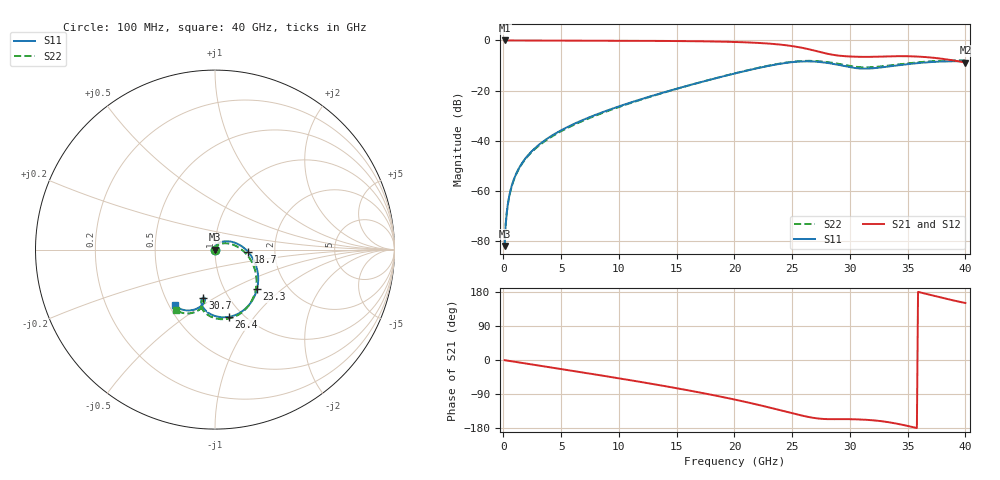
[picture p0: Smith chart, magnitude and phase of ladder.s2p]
# Hz S RI R 50
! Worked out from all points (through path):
!   400 points, 100 MHz to 40 GHz, reference 50 ohm
!   highest |S21| = 0.00 dB at 100 MHz (marker M1); lowest = -8.8 dB at 40 GHz (marker M2)
!   group delay of S21, straight-line fit = 14.5 ps
!   lowest |S11| = -82.0 dB at 100 MHz (marker M3), VSWR 1.00, Z = 50 + j0.00689 ohm
!   |S11| at or under -10 dB: start of sweep to 23.12 GHz; 29.28 GHz to 34.03 GHz (4.758 GHz wide, 15 % of centre)
!   |S22| runs from -82.1 to -7.9 dB; largest |S21 - S12| = 0
!   S11 on the Smith chart (normalised r, x): 100 MHz: 1.00, +0.00; 18.7 GHz: 1.45, -0.04; 23.3 GHz: 1.41, -0.70; 26.4 GHz: 0.86, -0.75; 30.7 GHz: 0.76, -0.44; 40 GHz: 0.53, -0.39
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1e8  -3.86e-05 6.9e-05  0.9998 -0.0086  0.9998 -0.0086  -3.76e-05 6.89e-05
2e8  -0.000111 0.000191  0.9996 -0.0171  0.9996 -0.0171  -0.000107 0.000191
3e8  -0.000188 0.000342  0.9993 -0.0255  0.9993 -0.0255  -0.000178 0.000342
6e8  -0.000417 0.0009  0.998 -0.0507  0.998 -0.0507  -0.000379 0.000897
1e9  -0.000693 0.0018  0.9953 -0.084  0.9953 -0.084  -0.00059 0.00179
1.6e9  -0.00101 0.0034  0.9892 -0.1336  0.9892 -0.1336  -0.000746 0.00336
2.5e9  -0.00116 0.00621  0.9755 -0.2071  0.9755 -0.2071  -0.000544 0.00607
3.6e9  -0.000703 0.0102  0.9513 -0.295  0.9513 -0.295  0.000539 0.00982
6.8e9  0.00669 0.0246  0.8359 -0.5346  0.8359 -0.5346  0.0104 0.0221
1.34e10  0.0714 0.0467  0.4011 -0.8937  0.4011 -0.8937  0.0773 0.0335
1.62e10  0.1259 0.032  0.1485 -0.9564  0.1485 -0.9564  0.1287 0.0137
1.87e10  0.1837 -0.0121  -0.0986 -0.9438  -0.0986 -0.9438  0.1816 -0.0329
2.01e10  0.2142 -0.0561  -0.2391 -0.9006  -0.2391 -0.9006  0.209 -0.0768
2.33e10  0.2336 -0.2215  -0.519 -0.6786  -0.519 -0.6786  0.2239 -0.2366
2.5e10  0.1733 -0.3257  -0.5952 -0.492  -0.5952 -0.492  0.1657 -0.3366
2.64e10  0.0767 -0.3748  -0.5829 -0.3332  -0.5829 -0.3332  0.0735 -0.3848
2.67e10  0.0541 -0.3771  -0.5708 -0.3041  -0.5708 -0.3041  0.0518 -0.3876
2.87e10  -0.06 -0.3306  -0.466 -0.2062  -0.466 -0.2062  -0.0602 -0.3465
3.07e10  -0.0691 -0.269  -0.4338 -0.1862  -0.4338 -0.1862  -0.0731 -0.2858
3.34e10  -0.062 -0.2966  -0.4645 -0.1295  -0.4645 -0.1295  -0.0641 -0.3095
3.65e10  -0.1333 -0.3381  -0.4655 0.0378  -0.4655 0.0378  -0.129 -0.3534
4e10  -0.2251 -0.3113  -0.315 0.1789  -0.315 0.1789  -0.2196 -0.335
